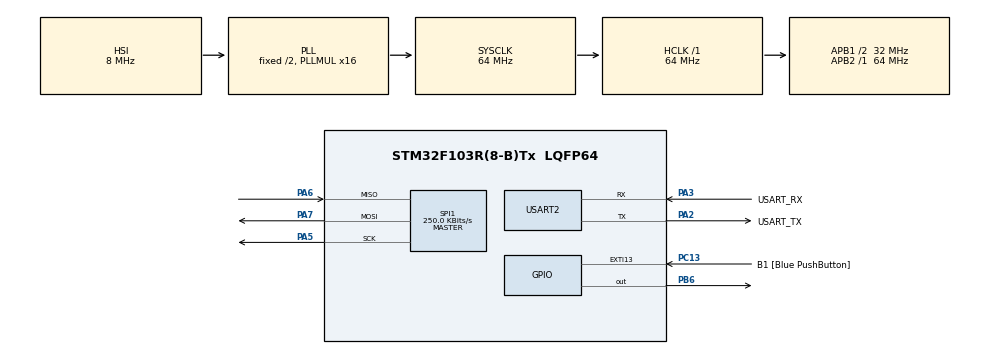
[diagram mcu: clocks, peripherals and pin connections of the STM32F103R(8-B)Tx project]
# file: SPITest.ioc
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Mcu.Family=STM32F1
Mcu.Name=STM32F103R(8-B)Tx
Mcu.Package=LQFP64
NVIC.EXTI15_10_IRQn=true\:0\:0\:false\:false\:true\:true\:true\:true
NVIC.PriorityGroup=NVIC_PRIORITYGROUP_4
PA13.GPIO_Label=TMS
PA13.Mode=Serial_Wire
PA13.Signal=SYS_JTMS-SWDIO
PA14.GPIO_Label=TCK
PA14.Mode=Serial_Wire
PA14.Signal=SYS_JTCK-SWCLK
PA2.GPIO_Label=USART_TX
PA2.GPIO_Mode=GPIO_MODE_AF_PP
PA2.GPIO_PuPd=GPIO_NOPULL
PA2.GPIO_Speed=GPIO_SPEED_FREQ_LOW
PA2.Mode=Asynchronous
PA2.Signal=USART2_TX
PA3.GPIO_Label=USART_RX
PA3.GPIO_Mode=GPIO_MODE_AF_PP
PA3.GPIO_PuPd=GPIO_NOPULL
PA3.GPIO_Speed=GPIO_SPEED_FREQ_LOW
PA3.Mode=Asynchronous
PA3.Signal=USART2_RX
PA5.Mode=Full_Duplex_Master
PA5.Signal=SPI1_SCK
PA6.Mode=Full_Duplex_Master
PA6.Signal=SPI1_MISO
PA7.Mode=Full_Duplex_Master
PA7.Signal=SPI1_MOSI
PB3.GPIO_Label=SWO
PB3.Signal=SYS_JTDO-TRACESWO
PB6.Signal=GPIO_Output
PC13-TAMPER-RTC.GPIO_Label=B1 [Blue PushButton]
PC13-TAMPER-RTC.GPIO_PuPd=GPIO_NOPULL
PC13-TAMPER-RTC.Signal=GPXTI13
PC14-OSC32_IN.Mode=LSE-External-Oscillator
PC14-OSC32_IN.Signal=RCC_OSC32_IN
PC15-OSC32_OUT.Mode=LSE-External-Oscillator
PC15-OSC32_OUT.Signal=RCC_OSC32_OUT
PD0-OSC_IN.Mode=HSE-External-Clock-Source
PD0-OSC_IN.Signal=RCC_OSC_IN
PD1-OSC_OUT.Mode=HSE-External-Clock-Source
PD1-OSC_OUT.Signal=RCC_OSC_OUT
ProjectManager.HeapSize=0x200
ProjectManager.StackSize=0x400
ProjectManager.TargetToolchain=STM32CubeIDE
RCC.AHBFreq_Value=64000000
RCC.APB1CLKDivider=RCC_HCLK_DIV2
RCC.APB1Freq_Value=32000000
RCC.APB1TimFreq_Value=64000000
RCC.APB2Freq_Value=64000000
RCC.APB2TimFreq_Value=64000000
RCC.HCLKFreq_Value=64000000
RCC.PLLMUL=RCC_PLL_MUL16
RCC.RTCClockSelection=RCC_RTCCLKSOURCE_LSE
RCC.SYSCLKFreq_VALUE=64000000
RCC.SYSCLKSource=RCC_SYSCLKSOURCE_PLLCLK
RCC.USBFreq_Value=64000000
SPI1.BaudRatePrescaler=SPI_BAUDRATEPRESCALER_256
SPI1.CLKPhase=SPI_PHASE_2EDGE
SPI1.CLKPolarity=SPI_POLARITY_LOW
SPI1.CalculateBaudRate=250.0 KBits/s
SPI1.Direction=SPI_DIRECTION_2LINES
SPI1.Mode=SPI_MODE_MASTER
SPI1.VirtualType=VM_MASTER
USART2.VirtualMode=VM_ASYNC
board=NUCLEO-F103RB

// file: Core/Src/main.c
/* USER CODE BEGIN Header */
/**
  ******************************************************************************
  * @file           : main.c
  * @brief          : Main program body
  ******************************************************************************
  * @attention
  *
  * Copyright (c) 2023 STMicroelectronics.
  * All rights reserved.
  *
  * This software is licensed under terms that can be found in the LICENSE file
  * in the root directory of this software component.
  * If no LICENSE file comes with this software, it is provided AS-IS.
  *
  ******************************************************************************
  */
/* USER CODE END Header */
#include "main.h"

SPI_HandleTypeDef hspi1;

UART_HandleTypeDef huart2;

void SystemClock_Config(void);
static void MX_GPIO_Init(void);
static void MX_SPI1_Init(void);
static void MX_USART2_UART_Init(void);

/* USER CODE BEGIN 0 */
char SPI_Read(uint8_t address){
	char data;
	address = address | 0x80;
	HAL_GPIO_WritePin(GPIOB, GPIO_PIN_6, GPIO_PIN_SET);
	HAL_GPIO_WritePin(GPIOB, GPIO_PIN_6, GPIO_PIN_RESET);
	HAL_SPI_Transmit(&hspi1, (uint8_t *)&(address), 1, 100);
	HAL_SPI_Receive(&hspi1, (uint8_t *)&data, 1, 100);
	HAL_GPIO_WritePin(GPIOB, GPIO_PIN_6, GPIO_PIN_SET);
	return data;
}

void SPI_Write(uint8_t address, uint8_t data){
		HAL_GPIO_WritePin(GPIOB, GPIO_PIN_6, GPIO_PIN_SET);
		HAL_GPIO_WritePin(GPIOB, GPIO_PIN_6, GPIO_PIN_RESET);
		HAL_SPI_Transmit(&hspi1, (uint8_t *)&(address), 1, 100);
		HAL_SPI_Transmit(&hspi1, (uint8_t *)&(data), 1, 100);
		HAL_GPIO_WritePin(GPIOB, GPIO_PIN_6, GPIO_PIN_SET);
}

void BMM150_Normal(){
    	uint8_t temp;
    	SPI_Write(0x4B, 0x01); //set to sleep
    	temp = SPI_Read(0x4C);
    	temp &= 0xF9; //clears last two bits
    	SPI_Write(0x4C, temp);	//set to normal
}

void BMM150_Set(){
			uint8_t temp;
	    	temp = SPI_Read(0x4E);
	    	temp &= 0x38; //  0011 1000
	    	SPI_Write(0x4E, temp);	//set to normal
}

void print_hex(char h) {
    int i;
    char nibble;
    for (i = 1; i >= 0; i--) {
        nibble = ((h >> (4 * i)) & 0x0F);
        if (nibble < 10) { //decimal number
        	nibble += 48;
            HAL_UART_Transmit(&huart2,(uint8_t *)&nibble, sizeof(nibble), 10);
        }
        else { //letter
        	nibble += 55;
        	HAL_UART_Transmit(&huart2,(uint8_t *)&nibble, sizeof(nibble), 10);
        }
    }
}

void getData(){
	uint8_t newline[] = "\n\r"; //Data to send
		  	 	  uint8_t space[] = "	"; //Data to send
		  	 	  uint8_t x[] = "X:	"; //Data to send
		  	 	  uint8_t y[] = "Y:	"; //Data to send
		  	 	  uint8_t z[] = "Z:	"; //Data to send
		  	 	  HAL_UART_Transmit(&huart2,newline,sizeof(newline),10);// Sending in normal mode
	//	  	 	  for(count = 0x40; count < 0x52; count++){
	//	  	 		uint8_t ReadData = SPI_Read(count); //Data to send
	//	  	 		print_hex(count);
	//	  	 		HAL_UART_Transmit(&huart2,space,sizeof(space),10);
	//	  	 		print_hex(ReadData);
	//	  	 		HAL_UART_Transmit(&huart2,newline,sizeof(newline),10);
	//	  	 	  }
		  	 		HAL_UART_Transmit(&huart2,x,sizeof(x),10);
		  	 		print_hex(SPI_Read(0x43));
		  	 		print_hex(SPI_Read(0x42));
		  	 		HAL_UART_Transmit(&huart2,space,sizeof(space),10);
		  	 		HAL_UART_Transmit(&huart2,y,sizeof(y),10);
		  	 		print_hex(SPI_Read(0x45));
		  	 		print_hex(SPI_Read(0x44));
		  	 		HAL_UART_Transmit(&huart2,space,sizeof(space),10);
		  	 		HAL_UART_Transmit(&huart2,z,sizeof(z),10);
		  	 		print_hex(SPI_Read(0x47));
		  	 		print_hex(SPI_Read(0x46));
		  	 		HAL_Delay(200);
}
/* USER CODE END 0 */

int main(void)
{

  /* MCU Configuration--------------------------------------------------------*/

  /* Reset of all peripherals, Initializes the Flash interface and the Systick. */
  HAL_Init();

  /* Configure the system clock */
  SystemClock_Config();

  /* Initialize all configured peripherals */
  MX_GPIO_Init();
  MX_SPI1_Init();
  MX_USART2_UART_Init();
  /* USER CODE BEGIN 2 */
    uint8_t Test = 0x00; //Data to send
    //uint8_t count = 0x40;
    BMM150_Normal();
    BMM150_Set();
  /* USER CODE END 2 */

  /* Infinite loop */
  while (1)
  {
	  Test++;
	  	 	  //print_hex(Test);
	  	 	  getData();
  }
}

void SystemClock_Config(void)
{
  RCC_OscInitTypeDef RCC_OscInitStruct = {0};
  RCC_ClkInitTypeDef RCC_ClkInitStruct = {0};

  /** Initializes the RCC Oscillators according to the specified parameters
  * in the RCC_OscInitTypeDef structure.
  */
  RCC_OscInitStruct.OscillatorType = RCC_OSCILLATORTYPE_HSI;
  RCC_OscInitStruct.HSIState = RCC_HSI_ON;
  RCC_OscInitStruct.HSICalibrationValue = RCC_HSICALIBRATION_DEFAULT;
  RCC_OscInitStruct.PLL.PLLState = RCC_PLL_ON;
  RCC_OscInitStruct.PLL.PLLSource = RCC_PLLSOURCE_HSI_DIV2;
  RCC_OscInitStruct.PLL.PLLMUL = RCC_PLL_MUL16;
  if (HAL_RCC_OscConfig(&RCC_OscInitStruct) != HAL_OK)
  {
    Error_Handler();
  }

  /** Initializes the CPU, AHB and APB buses clocks
  */
  RCC_ClkInitStruct.ClockType = RCC_CLOCKTYPE_HCLK|RCC_CLOCKTYPE_SYSCLK
                              |RCC_CLOCKTYPE_PCLK1|RCC_CLOCKTYPE_PCLK2;
  RCC_ClkInitStruct.SYSCLKSource = RCC_SYSCLKSOURCE_PLLCLK;
  RCC_ClkInitStruct.AHBCLKDivider = RCC_SYSCLK_DIV1;
  RCC_ClkInitStruct.APB1CLKDivider = RCC_HCLK_DIV2;
  RCC_ClkInitStruct.APB2CLKDivider = RCC_HCLK_DIV1;

  if (HAL_RCC_ClockConfig(&RCC_ClkInitStruct, FLASH_LATENCY_2) != HAL_OK)
  {
    Error_Handler();
  }
}

static void MX_SPI1_Init(void)
{

  /* SPI1 parameter configuration*/
  hspi1.Instance = SPI1;
  hspi1.Init.Mode = SPI_MODE_MASTER;
  hspi1.Init.Direction = SPI_DIRECTION_2LINES;
  hspi1.Init.DataSize = SPI_DATASIZE_8BIT;
  hspi1.Init.CLKPolarity = SPI_POLARITY_LOW;
  hspi1.Init.CLKPhase = SPI_PHASE_2EDGE;
  hspi1.Init.NSS = SPI_NSS_SOFT;
  hspi1.Init.BaudRatePrescaler = SPI_BAUDRATEPRESCALER_256;
  hspi1.Init.FirstBit = SPI_FIRSTBIT_MSB;
  hspi1.Init.TIMode = SPI_TIMODE_DISABLE;
  hspi1.Init.CRCCalculation = SPI_CRCCALCULATION_DISABLE;
  hspi1.Init.CRCPolynomial = 10;
  if (HAL_SPI_Init(&hspi1) != HAL_OK)
  {
    Error_Handler();
  }

}

static void MX_USART2_UART_Init(void)
{

  huart2.Instance = USART2;
  huart2.Init.BaudRate = 115200;
  huart2.Init.WordLength = UART_WORDLENGTH_8B;
  huart2.Init.StopBits = UART_STOPBITS_1;
  huart2.Init.Parity = UART_PARITY_NONE;
  huart2.Init.Mode = UART_MODE_TX_RX;
  huart2.Init.HwFlowCtl = UART_HWCONTROL_NONE;
  huart2.Init.OverSampling = UART_OVERSAMPLING_16;
  if (HAL_UART_Init(&huart2) != HAL_OK)
  {
    Error_Handler();
  }

}

static void MX_GPIO_Init(void)
{
  GPIO_InitTypeDef GPIO_InitStruct = {0};

  /* GPIO Ports Clock Enable */
  __HAL_RCC_GPIOC_CLK_ENABLE();
  __HAL_RCC_GPIOD_CLK_ENABLE();
  __HAL_RCC_GPIOA_CLK_ENABLE();
  __HAL_RCC_GPIOB_CLK_ENABLE();

  /*Configure GPIO pin Output Level */
  HAL_GPIO_WritePin(GPIOB, GPIO_PIN_6, GPIO_PIN_RESET);

  /*Configure GPIO pin : B1_Pin */
  GPIO_InitStruct.Pin = B1_Pin;
  GPIO_InitStruct.Mode = GPIO_MODE_IT_RISING;
  GPIO_InitStruct.Pull = GPIO_NOPULL;
  HAL_GPIO_Init(B1_GPIO_Port, &GPIO_InitStruct);

  /*Configure GPIO pin : PB6 */
  GPIO_InitStruct.Pin = GPIO_PIN_6;
  GPIO_InitStruct.Mode = GPIO_MODE_OUTPUT_PP;
  GPIO_InitStruct.Pull = GPIO_NOPULL;
  GPIO_InitStruct.Speed = GPIO_SPEED_FREQ_LOW;
  HAL_GPIO_Init(GPIOB, &GPIO_InitStruct);

  /* EXTI interrupt init*/
  HAL_NVIC_SetPriority(EXTI15_10_IRQn, 0, 0);
  HAL_NVIC_EnableIRQ(EXTI15_10_IRQn);

}

void Error_Handler(void)
{
  __disable_irq();
  while (1)
  {
  }
}
